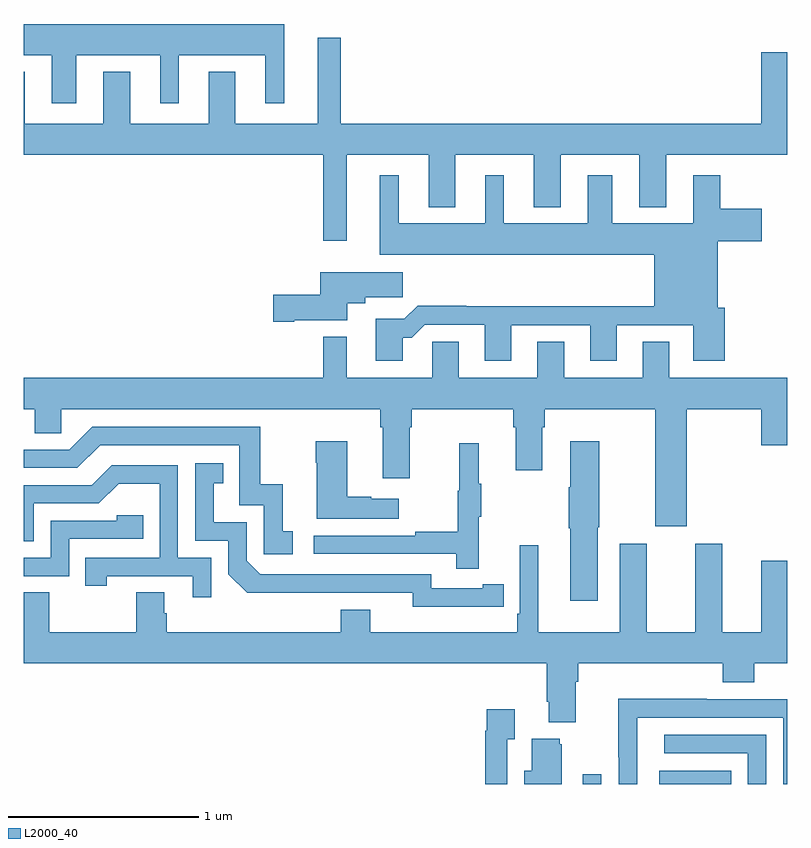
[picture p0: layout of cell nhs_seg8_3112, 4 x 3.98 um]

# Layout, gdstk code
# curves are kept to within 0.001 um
import gdstk
lib = gdstk.Library(unit=1e-6, precision=1e-09)
def R(c, l, rs):  # rectangles x0, y0, x1, y1
    for r in rs: c.add(gdstk.rectangle(r[:2], r[2:], *l))
def P(c, l, *ps):  # polygons
    for p in ps: c.add(gdstk.Polygon(p, *l))
L2000_40 = (2000, 40)

nhs_seg8_3112 = lib.new_cell('nhs_seg8_3112')
R(nhs_seg8_3112, L2000_40, [(307.929,1083.9,308.025,1083.952), (308.33,1083.9,308.708,1083.97)])
P(nhs_seg8_3112, L2000_40, [(305.275,1087.718),(305.714,1087.718),(305.714,1087.467),(305.812,1087.467),(305.812,1087.718),(306.266,1087.718),(306.266,1087.467),(306.364,1087.467),(306.364,1087.882),(305,1087.882),(305,1087.718),(305.147,1087.718),(305.147,1087.467),(305.275,1087.467)],
  [(306.57,1086.747),(306.691,1086.747),(306.691,1087.196),(307.121,1087.196),(307.121,1086.923),(307.261,1086.923),(307.261,1087.196),(307.673,1087.196),(307.673,1086.923),(307.813,1086.923),(307.813,1087.196),(308.225,1087.196),(308.225,1086.923),(308.365,1086.923),(308.365,1087.196),(309,1087.196),(309,1087.735),(308.864,1087.735),(308.864,1087.36),(306.661,1087.36),(306.661,1087.81),(306.539,1087.81),(306.539,1087.36),(306.109,1087.36),(306.109,1087.633),(305.969,1087.633),(305.969,1087.36),(305.557,1087.36),(305.557,1087.633),(305.417,1087.633),(305.417,1087.36),(305.005,1087.36),(305.005,1087.633),(305,1087.633),(305,1087.196),(306.57,1087.196)],
  [(306.985,1086.239),(307.034,1086.239),(307.101,1086.306),(307.415,1086.306),(307.415,1086.117),(307.555,1086.117),(307.555,1086.303),(307.967,1086.303),(307.967,1086.117),(308.107,1086.117),(308.107,1086.303),(308.507,1086.303),(308.507,1086.117),(308.672,1086.117),(308.672,1086.396),(308.635,1086.396),(308.635,1086.743),(308.866,1086.743),(308.866,1086.913),(308.648,1086.913),(308.648,1087.09),(308.507,1087.09),(308.507,1086.838),(308.083,1086.838),(308.083,1087.09),(307.955,1087.09),(307.955,1086.838),(307.516,1086.838),(307.516,1087.09),(307.418,1087.09),(307.418,1086.838),(306.964,1086.838),(306.964,1087.09),(306.866,1087.09),(306.866,1086.674),(308.303,1086.674),(308.303,1086.404),(307.319,1086.404),(307.319,1086.407),(307.064,1086.407),(306.994,1086.337),(306.845,1086.337),(306.845,1086.117),(306.985,1086.117)],
  [(306.418,1086.329),(306.694,1086.329),(306.694,1086.419),(306.79,1086.419),(306.79,1086.451),(306.985,1086.451),(306.985,1086.58),(306.554,1086.58),(306.554,1086.464),(306.306,1086.464),(306.306,1086.322),(306.418,1086.322)],
  [(308.473,1085.864),(308.864,1085.864),(308.864,1085.676),(309,1085.676),(309,1086.028),(308.383,1086.028),(308.383,1086.218),(308.243,1086.218),(308.243,1086.028),(307.831,1086.028),(307.831,1086.218),(307.691,1086.218),(307.691,1086.028),(307.279,1086.028),(307.279,1086.218),(307.14,1086.218),(307.14,1086.028),(306.691,1086.028),(306.691,1086.244),(306.57,1086.244),(306.57,1086.028),(305,1086.028),(305,1085.864),(305.057,1085.864),(305.057,1085.737),(305.196,1085.737),(305.196,1085.864),(306.869,1085.864),(306.869,1085.768),(306.881,1085.768),(306.881,1085.502),(307.021,1085.502),(307.021,1085.768),(307.034,1085.768),(307.034,1085.864),(307.565,1085.864),(307.565,1085.768),(307.577,1085.768),(307.577,1085.544),(307.717,1085.544),(307.717,1085.768),(307.73,1085.768),(307.73,1085.864),(308.309,1085.864),(308.309,1085.25),(308.473,1085.25)],
  [(306.409,1085.223),(306.356,1085.223),(306.356,1085.47),(306.238,1085.47),(306.238,1085.772),(305.358,1085.772),(305.238,1085.652),(305,1085.652),(305,1085.556),(305.28,1085.556),(305.4,1085.676),(306.129,1085.676),(306.129,1085.361),(306.258,1085.361),(306.258,1085.103),(306.409,1085.103)],
  [(306.964,1085.395),(306.821,1085.395),(306.821,1085.405),(306.694,1085.405),(306.694,1085.695),(306.529,1085.695),(306.529,1085.582),(306.536,1085.582),(306.536,1085.291),(306.964,1085.291)],
  [(308.008,1085.245),(308.016,1085.245),(308.016,1085.695),(307.862,1085.695),(307.862,1085.456),(307.855,1085.456),(307.855,1085.239),(307.862,1085.239),(307.862,1084.86),(308.008,1084.86)],
  [(307.385,1085.299),(307.396,1085.299),(307.396,1085.473),(307.385,1085.473),(307.385,1085.686),(307.282,1085.686),(307.282,1085.436),(307.275,1085.436),(307.275,1085.222),(307.051,1085.222),(307.051,1085.202),(306.519,1085.202),(306.519,1085.106),(307.267,1085.106),(307.267,1085.028),(307.385,1085.028)],
  [(307.406,1084.83),(307.514,1084.83),(307.514,1084.946),(307.406,1084.946),(307.406,1084.926),(307.134,1084.926),(307.134,1084.998),(306.24,1084.998),(306.168,1085.07),(306.168,1085.271),(305.995,1085.271),(305.995,1085.475),(306.044,1085.475),(306.044,1085.581),(305.898,1085.581),(305.898,1085.175),(306.072,1085.175),(306.072,1084.998),(306.17,1084.901),(307.038,1084.902),(307.038,1084.829)],
  [(305.982,1085.085),(305.808,1085.085),(305.808,1085.571),(305.462,1085.571),(305.357,1085.466),(305,1085.466),(305,1085.172),(305.052,1085.172),(305.052,1085.37),(305.394,1085.37),(305.498,1085.474),(305.712,1085.474),(305.712,1085.085),(305.323,1085.085),(305.323,1084.938),(305.434,1084.938),(305.434,1084.989),(305.885,1084.989),(305.885,1084.878),(305.982,1084.878)],
  [(305.238,1085.184),(305.627,1085.184),(305.627,1085.307),(305.487,1085.307),(305.487,1085.28),(305.142,1085.28),(305.142,1085.085),(305,1085.085),(305,1084.989),(305.238,1084.989)],
  [(307.891,1084.436),(307.904,1084.436),(307.904,1084.532),(308.663,1084.532),(308.663,1084.433),(308.828,1084.433),(308.828,1084.532),(309,1084.532),(309,1085.071),(308.864,1085.071),(308.864,1084.696),(308.659,1084.696),(308.659,1085.158),(308.519,1085.158),(308.519,1084.696),(308.263,1084.696),(308.263,1085.158),(308.123,1085.158),(308.123,1084.696),(307.696,1084.696),(307.696,1085.152),(307.599,1085.152),(307.599,1084.792),(307.586,1084.792),(307.586,1084.696),(306.814,1084.696),(306.814,1084.813),(306.662,1084.813),(306.662,1084.696),(305.75,1084.696),(305.75,1084.794),(305.737,1084.794),(305.737,1084.904),(305.59,1084.904),(305.59,1084.696),(305.133,1084.696),(305.133,1084.904),(305,1084.904),(305,1084.532),(307.739,1084.532),(307.739,1084.33),(307.751,1084.33),(307.751,1084.223),(307.891,1084.223)],
  [(308.214,1084.248),(308.979,1084.248),(308.979,1083.9),(309,1083.9),(309,1084.344),(308.579,1084.344),(308.579,1084.346),(308.116,1084.346),(308.116,1084.039),(308.118,1084.039),(308.118,1083.9),(308.214,1083.9)],
  [(307.533,1084.135),(307.573,1084.135),(307.573,1084.291),(307.425,1084.291),(307.425,1084.178),(307.417,1084.178),(307.417,1083.9),(307.533,1083.9)],
  [(308.889,1084.158),(308.355,1084.158),(308.355,1084.062),(308.793,1084.062),(308.793,1083.9),(308.889,1083.9)],
  [(307.819,1084.107),(307.808,1084.107),(307.808,1084.138),(307.661,1084.138),(307.661,1083.97),(307.622,1083.97),(307.622,1083.9),(307.819,1083.9)])

lib.write_gds('nhs_seg8_3112.gds')
